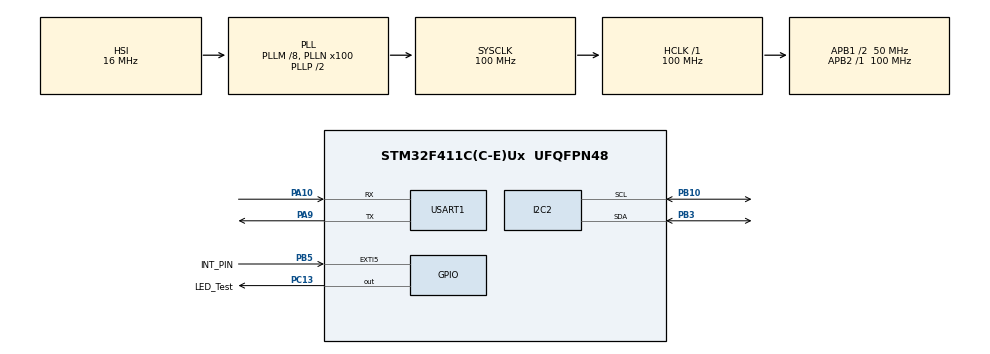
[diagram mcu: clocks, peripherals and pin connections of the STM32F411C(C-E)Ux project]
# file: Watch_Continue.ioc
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Dma.I2C2_RX.0.Direction=DMA_PERIPH_TO_MEMORY
Dma.I2C2_RX.0.FIFOMode=DMA_FIFOMODE_DISABLE
Dma.I2C2_RX.0.Instance=DMA1_Stream2
Dma.I2C2_RX.0.MemDataAlignment=DMA_MDATAALIGN_BYTE
Dma.I2C2_RX.0.MemInc=DMA_MINC_ENABLE
Dma.I2C2_RX.0.Mode=DMA_NORMAL
Dma.I2C2_RX.0.PeriphDataAlignment=DMA_PDATAALIGN_BYTE
Dma.I2C2_RX.0.PeriphInc=DMA_PINC_DISABLE
Dma.I2C2_RX.0.Priority=DMA_PRIORITY_LOW
Dma.Request0=I2C2_RX
FREERTOS.Tasks01=defaultTask,24,128,StartDefaultTask,Default,NULL,Dynamic,NULL,NULL
Mcu.Family=STM32F4
Mcu.Name=STM32F411C(C-E)Ux
Mcu.Package=UFQFPN48
NVIC.DMA1_Stream2_IRQn=true\:5\:0\:false\:false\:true\:true\:false\:true\:true
NVIC.EXTI9_5_IRQn=true\:5\:0\:false\:false\:true\:true\:true\:true\:true
NVIC.PriorityGroup=NVIC_PRIORITYGROUP_4
NVIC.TIM4_IRQn=true\:15\:0\:false\:false\:true\:false\:false\:true\:true
NVIC.TimeBase=TIM4_IRQn
NVIC.TimeBaseIP=TIM4
PA10.Mode=Asynchronous
PA10.Signal=USART1_RX
PA13.Mode=Serial_Wire
PA13.Signal=SYS_JTMS-SWDIO
PA14.Mode=Serial_Wire
PA14.Signal=SYS_JTCK-SWCLK
PA9.Mode=Asynchronous
PA9.Signal=USART1_TX
PB10.Mode=I2C
PB10.Signal=I2C2_SCL
PB3.Mode=I2C
PB3.Signal=I2C2_SDA
PB5.GPIO_Label=INT_PIN
PB5.GPIO_ModeDefaultEXTI=GPIO_MODE_IT_FALLING
PB5.GPIO_PuPd=GPIO_PULLUP
PB5.Signal=GPXTI5
PC13-ANTI_TAMP.GPIO_Label=LED_Test
PC13-ANTI_TAMP.Signal=GPIO_Output
PC14-OSC32_IN.Mode=LSE-External-Oscillator
PC14-OSC32_IN.Signal=RCC_OSC32_IN
PC15-OSC32_OUT.Mode=LSE-External-Oscillator
PC15-OSC32_OUT.Signal=RCC_OSC32_OUT
PH0\ -\ OSC_IN.Mode=HSE-External-Oscillator
PH0\ -\ OSC_IN.Signal=RCC_OSC_IN
PH1\ -\ OSC_OUT.Mode=HSE-External-Oscillator
PH1\ -\ OSC_OUT.Signal=RCC_OSC_OUT
ProjectManager.HeapSize=0x200
ProjectManager.StackSize=0x400
ProjectManager.TargetToolchain=MDK-ARM V5.32
RCC.48MHZClocksFreq_Value=50000000
RCC.AHBFreq_Value=100000000
RCC.APB1CLKDivider=RCC_HCLK_DIV2
RCC.APB1Freq_Value=50000000
RCC.APB1TimFreq_Value=100000000
RCC.APB2Freq_Value=100000000
RCC.APB2TimFreq_Value=100000000
RCC.CortexFreq_Value=100000000
RCC.HCLKFreq_Value=100000000
RCC.HSE_VALUE=25000000
RCC.HSI_VALUE=16000000
RCC.PLLM=8
RCC.PLLN=100
RCC.SYSCLKFreq_VALUE=100000000
RCC.SYSCLKSource=RCC_SYSCLKSOURCE_PLLCLK
RCC.VCOOutputFreq_Value=200000000
USART1.VirtualMode=VM_ASYNC
VP_FREERTOS_VS_CMSIS_V2.Mode=CMSIS_V2
VP_SYS_VS_tim4.Mode=TIM4
board=custom

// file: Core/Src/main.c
/* USER CODE BEGIN Header */
/**
  ******************************************************************************
  * @file           : main.c
  * @brief          : Main program body
  ******************************************************************************
  * @attention
  *
  * Copyright (c) 2026 STMicroelectronics.
  * All rights reserved.
  *
  * This software is licensed under terms that can be found in the LICENSE file
  * in the root directory of this software component.
  * If no LICENSE file comes with this software, it is provided AS-IS.
  *
  ******************************************************************************
  */
/* USER CODE END Header */
#include "main.h"
#include "cmsis_os.h"
#include "dma.h"
#include "i2c.h"
#include "usart.h"
#include "gpio.h"

/* USER CODE BEGIN Includes */
#include "iic_hal.h"
#include "elog.h"
// #include "delay.h"

/* USER CODE END Includes */

void SystemClock_Config(void);
void MX_FREERTOS_Init(void);

/* USER CODE BEGIN 0 */
//void test_log(void){
//  log_d("test log\r\n");
//  log_e("test log error\r\n");
//  log_w("test log warn\r\n");
//  log_i("test log info\r\n");
//  log_d("test log debug\r\n");
//  log_v("test log verbose\r\n");
//  // log_raw("test log raw\r\n");
//}
/* USER CODE END 0 */

int main(void)
{

  /* MCU Configuration--------------------------------------------------------*/

  /* Reset of all peripherals, Initializes the Flash interface and the Systick. */
  HAL_Init();

  /* Configure the system clock */
  SystemClock_Config();

  /* Initialize all configured peripherals */
  MX_GPIO_Init();
  MX_DMA_Init();
  MX_USART1_UART_Init();
  MX_I2C2_Init();
  /* USER CODE BEGIN 2 */

 	elog_init();
	/* set EasyLogger log format */
	elog_set_fmt(ELOG_LVL_ASSERT, ELOG_FMT_ALL);
	elog_set_fmt(ELOG_LVL_ERROR, ELOG_FMT_LVL | ELOG_FMT_TAG | ELOG_FMT_TIME);
	elog_set_fmt(ELOG_LVL_WARN, ELOG_FMT_LVL | ELOG_FMT_TAG | ELOG_FMT_TIME);
	elog_set_fmt(ELOG_LVL_INFO, ELOG_FMT_LVL | ELOG_FMT_TAG | ELOG_FMT_TIME);
	elog_set_fmt(ELOG_LVL_DEBUG, ELOG_FMT_ALL & ~(ELOG_FMT_FUNC | ELOG_FMT_T_INFO | ELOG_FMT_P_INFO));
	elog_set_fmt(ELOG_LVL_VERBOSE, ELOG_FMT_ALL & ~(ELOG_FMT_FUNC | ELOG_FMT_T_INFO | ELOG_FMT_P_INFO));
	/* start EasyLogger */
	elog_start();

//  test_log();
  // __HAL_RCC_GPIOB_CLK_ENABLE();   // 使能 GPIOB 时钟
// __HAL_RCC_GPIOB_CLK_DISABLE();   // 使能 GPIOB 时钟

  /* USER CODE END 2 */

  /* Init scheduler */
  osKernelInitialize();

  /* Call init function for freertos objects (in cmsis_os2.c) */
  MX_FREERTOS_Init();

  /* Start scheduler */
  osKernelStart();

  /* We should never get here as control is now taken by the scheduler */

  /* Infinite loop */
  /* USER CODE BEGIN WHILE */
  while (1)
  {
//	printf("hello win\r\n");
//	      HAL_GPIO_WritePin(LED_Test_GPIO_Port, LED_Test_Pin, GPIO_PIN_RESET);HAL_Delay(500);
//    HAL_GPIO_WritePin(LED_Test_GPIO_Port, LED_Test_Pin, GPIO_PIN_SET);
//    HAL_Delay(500);

    /* USER CODE END WHILE */

  }
}

void SystemClock_Config(void)
{
  RCC_OscInitTypeDef RCC_OscInitStruct = {0};
  RCC_ClkInitTypeDef RCC_ClkInitStruct = {0};

  /** Configure the main internal regulator output voltage
  */
  __HAL_RCC_PWR_CLK_ENABLE();
  __HAL_PWR_VOLTAGESCALING_CONFIG(PWR_REGULATOR_VOLTAGE_SCALE1);

  /** Initializes the RCC Oscillators according to the specified parameters
  * in the RCC_OscInitTypeDef structure.
  */
  RCC_OscInitStruct.OscillatorType = RCC_OSCILLATORTYPE_HSI;
  RCC_OscInitStruct.HSIState = RCC_HSI_ON;
  RCC_OscInitStruct.HSICalibrationValue = RCC_HSICALIBRATION_DEFAULT;
  RCC_OscInitStruct.PLL.PLLState = RCC_PLL_ON;
  RCC_OscInitStruct.PLL.PLLSource = RCC_PLLSOURCE_HSI;
  RCC_OscInitStruct.PLL.PLLM = 8;
  RCC_OscInitStruct.PLL.PLLN = 100;
  RCC_OscInitStruct.PLL.PLLP = RCC_PLLP_DIV2;
  RCC_OscInitStruct.PLL.PLLQ = 4;
  if (HAL_RCC_OscConfig(&RCC_OscInitStruct) != HAL_OK)
  {
    Error_Handler();
  }

  /** Initializes the CPU, AHB and APB buses clocks
  */
  RCC_ClkInitStruct.ClockType = RCC_CLOCKTYPE_HCLK|RCC_CLOCKTYPE_SYSCLK
                              |RCC_CLOCKTYPE_PCLK1|RCC_CLOCKTYPE_PCLK2;
  RCC_ClkInitStruct.SYSCLKSource = RCC_SYSCLKSOURCE_PLLCLK;
  RCC_ClkInitStruct.AHBCLKDivider = RCC_SYSCLK_DIV1;
  RCC_ClkInitStruct.APB1CLKDivider = RCC_HCLK_DIV2;
  RCC_ClkInitStruct.APB2CLKDivider = RCC_HCLK_DIV1;

  if (HAL_RCC_ClockConfig(&RCC_ClkInitStruct, FLASH_LATENCY_3) != HAL_OK)
  {
    Error_Handler();
  }
}

void HAL_TIM_PeriodElapsedCallback(TIM_HandleTypeDef *htim)
{
  if (htim->Instance == TIM4) {
    HAL_IncTick();
  }
}

void Error_Handler(void)
{
  __disable_irq();
  while (1)
  {
  }
}

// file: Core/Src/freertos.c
/* USER CODE BEGIN Header */
/**
  ******************************************************************************
  * File Name          : freertos.c
  * Description        : Code for freertos applications
  ******************************************************************************
  * @attention
  *
 * @par dependencies
 * - bsp_led_driver.h
 * - stdint.h
 * - bsp_led_handler.h
  * Copyright (c) 2026 STMicroelectronics.
  * All rights reserved.
  *
  * This software is licensed under terms that can be found in the LICENSE file
  * in the root directory of this software component.
  * If no LICENSE file comes with this software, it is provided AS-IS.
  *
  ******************************************************************************
  */
/* USER CODE END Header */

#include "FreeRTOS.h"
#include "task.h"
#include "main.h"
#include "cmsis_os.h"

/* USER CODE BEGIN Includes */
///1.编译系统提供的头文件 compiling system provided headers

/***2.	MCU Layer********************* */
//2.1 CPU Driver
#include "cmsis_os.h"
//2.2 Core
#include "iic_hal.h"
#include "i2c.h"
/***3.	OS Layer********************* */
#include "FreeRTOS.h"
#include "task.h"
#include "queue.h"
/***4.	compiling BSP provided headers******* */

#include "AHT21.h"
#include "MPU6050.h"
#include "bsp_mpu_handler.h"
#include "unpack.h"

#include "mid_circle_buffer.h"

#include "delay.h"
#include "system_adaptation.h"//LED
#include "elog.h"

/* USER CODE END Includes */

/* USER CODE BEGIN PM */

/**四个interface分别从core，driver还有OS层传过来，�?�过handler层传给driver�???? */
/* USER CODE END PM */

/* USER CODE BEGIN Variables */
// extern bsp_mpu_driver_t p_mpu_driver_instance;/******************** */
extern bsp_mpu_handler_t handler_instance;

extern mpu_os_interface_t mpu_os_instance;
extern mpu_yield_interface_t mpu_yield_instance;
extern mpu_timebases_ms_t mpu_timebase_instance;
extern mpu_delay_interface_t mpu_delay_instance;
extern mpu_iic_driver_instance_t MPU_iic_instance;
extern mpu_input_arg_t input_arg_mpu;
TaskHandle_t mpu_handler_threadHandle = NULL;

/* USER CODE END Variables */
/* Definitions for defaultTask */
osThreadId_t defaultTaskHandle;
const osThreadAttr_t defaultTask_attributes = {
  .name = "defaultTask",
  .stack_size = 128 * 4,
  .priority = (osPriority_t) osPriorityNormal,
};

/* USER CODE BEGIN FunctionPrototypes */
void (*pf_pin_interrupt_callback)(void *, void *) = NULL;
void (*pf_dma_interrupt_callback)(void *, void *) = NULL;

#if 1
void HAL_GPIO_EXTI_Callback(uint16_t GPIO_Pin)
{
	// INT test
	// HAL_GPIO_WritePin(INT_FUNC_GPIO_Port, INT_FUNC_Pin, 0); // PA2

	//log_i("HAL_GPIO_EXTI_Callback");

	if(NULL != pf_pin_interrupt_callback)
	{
		pf_pin_interrupt_callback(handler_instance.p_mpu_driver, NULL);
		/*
		log_i("mpu6050 data: \r\n accel_x : %f, accel_y : %f, accel_z : %f \r\n gyro_x : %f, gyro_y : %f, gyro_z : %f \r\n temperature : %f \r\n ax : %f, ay : %f, az : %f\r\n gx : %f, gy : %f, gz : %f\r\n",
			  mpu6050_data.accel_x_raw,
			  mpu6050_data.accel_y_raw,
			  mpu6050_data.accel_z_raw,
			  mpu6050_data.gyro_x_raw,
			  mpu6050_data.gyro_y_raw,
			  mpu6050_data.gyro_z_raw,
			  mpu6050_data.temperature,
			  mpu6050_data.ax,
			  mpu6050_data.ay,
			  mpu6050_data.az,
			  mpu6050_data.gx,
			  mpu6050_data.gy,
			  mpu6050_data.gz);
		*/
	}
	// INT test
	// HAL_GPIO_WritePin(INT_FUNC_GPIO_Port, INT_FUNC_Pin, 1); // PA2
}
#endif

// DMA完成回调函数
#if 1
void HAL_I2C_MemRxCpltCallback(I2C_HandleTypeDef *hi2c)
{
	// HAL_GPIO_WritePin(DMA_FUNC_GPIO_Port, DMA_FUNC_Pin, 0); // PA1
	//log_i("HAL_I2C_MemRxCpltCallback");
	if(hi2c == &hi2c2)
	{
		pf_dma_interrupt_callback(handler_instance.p_mpu_driver, NULL);
	}
	// HAL_GPIO_WritePin(DMA_FUNC_GPIO_Port, DMA_FUNC_Pin, 1); // PA1
}
#endif

/* USER CODE END FunctionPrototypes */

void StartDefaultTask(void *argument);

void MX_FREERTOS_Init(void); /* (MISRA C 2004 rule 8.1) */

void MX_FREERTOS_Init(void) {

  /* Create the thread(s) */
  /* creation of defaultTask */
  defaultTaskHandle = osThreadNew(StartDefaultTask, NULL, &defaultTask_attributes);

  xTaskCreate(mpu_handler_thread_func, "mpu_handler_thread", 128 * 10,
              &input_arg_mpu, osPriorityNormal, &mpu_handler_threadHandle);
  xTaskCreate(unpack_thread_func, "unpack_thread", 128 * 10,
              NULL, osPriorityNormal, NULL);  /* USER CODE BEGIN RTOS_THREADS */
  /* add threads, ... */

/**  humi_temp_TaskHandle = osThreadNew(aht21_handler_thread_func, //taskfunc 是weak 在handler.c中重定义实现
                                      &input_arg,
                                      &humi_temp_Task_attributes);
  //user_task 是发送队列消息的线程
  user_TaskHandle = osThreadNew(user_task_func,
                                NULL,
                                &user_Task_attributes); */
  /* USER CODE END RTOS_THREADS */

}

void StartDefaultTask(void *argument)
{
  /* USER CODE BEGIN StartDefaultTask */
  /* Infinite loop */
  /**----等待调度器成功之后在进行初始化，
   * 避免在初始化过程中被调度器打断，导致问题
   * 避免后续的任务调度vtaskdelay hard fault--必须用osdelay */
  // delay_ms(500);-
  osDelay(500);

  // mpu_data_t p_data={0};
  // MPU6050_Test(&p_mpu_driver_instance);
  // buffer_init(&circular_buf, MPU6050_DATA_PACKET_SIZE);
  // mpu_data_t mpu6050_data;///通过都地址获取到的数据，存储在这个结构体中

  // uint8_t *rbuff = NULL;
	for(;;)
	{

  }
  /* USER CODE END StartDefaultTask */
}
